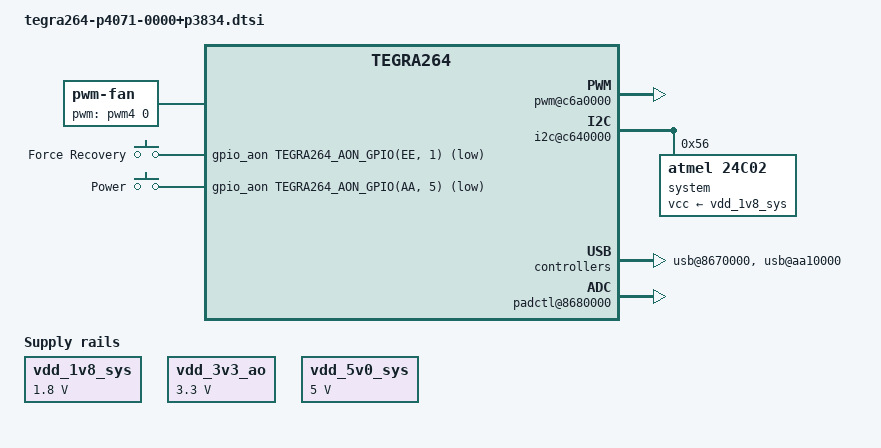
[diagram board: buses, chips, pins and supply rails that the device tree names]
// SPDX-License-Identifier: GPL-2.0-only OR BSD-2-Clause

#include <dt-bindings/input/linux-event-codes.h>
#include <dt-bindings/input/gpio-keys.h>

/ {
	aliases {
		serial0 = &{/bus@0/serial@c4e0000};
		serial1 = &{/bus@0/serial@c5a0000};
	};

	chosen {
		stdout-path = "serial0:115200n8";
	};

	bus@0 {
		rtc@c2c0000 {
			status = "okay";
		};

		pwm@c6a0000 {
			status = "okay";
		};
	};

	bus@8100000000 {
		i2c@c640000 {
			eeprom@56 {
				compatible = "atmel,24c02";
				reg = <0x56>;
				label = "system";
				vcc-supply = <&vdd_1v8_sys>;
				address-width = <8>;
				pagesize = <8>;
				size = <256>;
				read-only;
			};
		};
	};

	bus@a800000000 {
		usb@8670000 {
			phys = <&{/bus@a800000000/padctl@8680000/pads/usb2/lanes/usb2-0}>,
			       <&{/bus@a800000000/padctl@8680000/pads/usb3/lanes/usb3-1}>;
			phy-names = "usb2-0", "usb3-0";
			status = "okay";
		};

		padctl@8680000 {
			vclamp-usb-supply = <&vdd_1v8_ao>;
			avdd-usb-supply = <&vdd_3v3_ao>;
			status = "okay";

			pads {
				usb2 {
					lanes {
						usb2-0 {
							status = "okay";
						};

						usb2-1 {
							status = "okay";
						};

						usb2-2 {
							status = "okay";
						};

						usb2-3 {
							status = "okay";
						};
					};
				};

				usb3 {
					lanes {
						usb3-0 {
							status = "okay";
						};

						usb3-1 {
							status = "okay";
						};

						usb3-2 {
							status = "okay";
						};
					};
				};
			};

			ports {
				usb2-0 {
					mode = "otg";
					vbus-supply = <&vdd_5v0_sys>;
					status = "okay";
				};

				usb2-1 {
					mode = "host";
					vbus-supply = <&vdd_5v0_sys>;
					status = "okay";
				};

				usb2-2 {
					mode = "host";
					vbus-supply = <&vdd_5v0_sys>;
					status = "okay";
				};

				usb2-3 {
					mode = "host";
					vbus-supply = <&vdd_5v0_sys>;
					status = "okay";
				};

				usb3-0 {
					nvidia,usb2-companion = <1>;
					status = "okay";
				};

				usb3-1 {
					nvidia,usb2-companion = <0>;
					status = "okay";
				};

				usb3-2 {
					nvidia,usb2-companion = <3>;
					status = "okay";
				};
			};
		};

		usb@aa10000 {
			status = "okay";

			phys = <&{/bus@a800000000/padctl@8680000/pads/usb2/lanes/usb2-0}>,
			       <&{/bus@a800000000/padctl@8680000/pads/usb2/lanes/usb2-1}>,
			       <&{/bus@a800000000/padctl@8680000/pads/usb2/lanes/usb2-2}>,
			       <&{/bus@a800000000/padctl@8680000/pads/usb2/lanes/usb2-3}>,
			       <&{/bus@a800000000/padctl@8680000/pads/usb3/lanes/usb3-0}>,
			       <&{/bus@a800000000/padctl@8680000/pads/usb3/lanes/usb3-1}>,
			       <&{/bus@a800000000/padctl@8680000/pads/usb3/lanes/usb3-2}>;
			phy-names = "usb2-0", "usb2-1", "usb2-2", "usb2-3",
				    "usb3-0", "usb3-1", "usb3-2";
		};
	};

	fan: pwm-fan {
		compatible = "pwm-fan";
		cooling-levels = <77 102 140 192 255>;
		pwms = <&pwm4 0 40000>;
		#cooling-cells = <2>;
	};

	gpio-keys {
		compatible = "gpio-keys";

		key-force-recovery {
			label = "Force Recovery";
			gpios = <&gpio_aon TEGRA264_AON_GPIO(EE, 1) GPIO_ACTIVE_LOW>;
			linux,input-type = <EV_KEY>;
			linux,code = <KEY_SLEEP>;
		};

		key-power {
			label = "Power";
			gpios = <&gpio_aon TEGRA264_AON_GPIO(AA, 5) GPIO_ACTIVE_LOW>;
			linux,input-type = <EV_KEY>;
			linux,code = <KEY_POWER>;
			wakeup-event-action = <EV_ACT_ASSERTED>;
			wakeup-source;
		};
	};

	vdd_1v8_sys: regulator-vdd-1v8-sys {
		compatible = "regulator-fixed";
		regulator-name = "VDD_1V8_SYS";
		regulator-min-microvolt = <1800000>;
		regulator-max-microvolt = <1800000>;
		regulator-always-on;
	};

	vdd_3v3_ao: regulator-vdd-3v3-ao {
		compatible = "regulator-fixed";
		regulator-name = "VDD_3V3_AO";
		regulator-min-microvolt = <3300000>;
		regulator-max-microvolt = <3300000>;
		regulator-always-on;
	};

	vdd_5v0_sys: regulator-vdd-5v0-sys {
		compatible = "regulator-fixed";
		regulator-name = "VIN_SYS_5V0";
		regulator-min-microvolt = <5000000>;
		regulator-max-microvolt = <5000000>;
		regulator-always-on;
		regulator-boot-on;
	};

	thermal-zones {
		tj-thermal {
			trips {
				tj_trip_active0: active-0 {
					temperature = <80000>;
					hysteresis = <0>;
					type = "active";
				};

				tj_trip_active1: active-1 {
					temperature = <86000>;
					hysteresis = <0>;
					type = "active";
				};

				tj_trip_active2: active-2 {
					temperature = <91000>;
					hysteresis = <0>;
					type = "active";
				};

				tj_trip_active3: active-3 {
					temperature = <100000>;
					hysteresis = <0>;
					type = "active";
				};
			};

			cooling-maps {
				map-active-0 {
					cooling-device = <&fan 0 1>;
					trip = <&tj_trip_active0>;
				};

				map-active-1 {
					cooling-device = <&fan 1 2>;
					trip = <&tj_trip_active1>;
				};

				map-active-2 {
					cooling-device = <&fan 2 3>;
					trip = <&tj_trip_active2>;
				};

				map-active-3 {
					cooling-device = <&fan 3 4>;
					trip = <&tj_trip_active3>;
				};
			};
		};
	};
};
